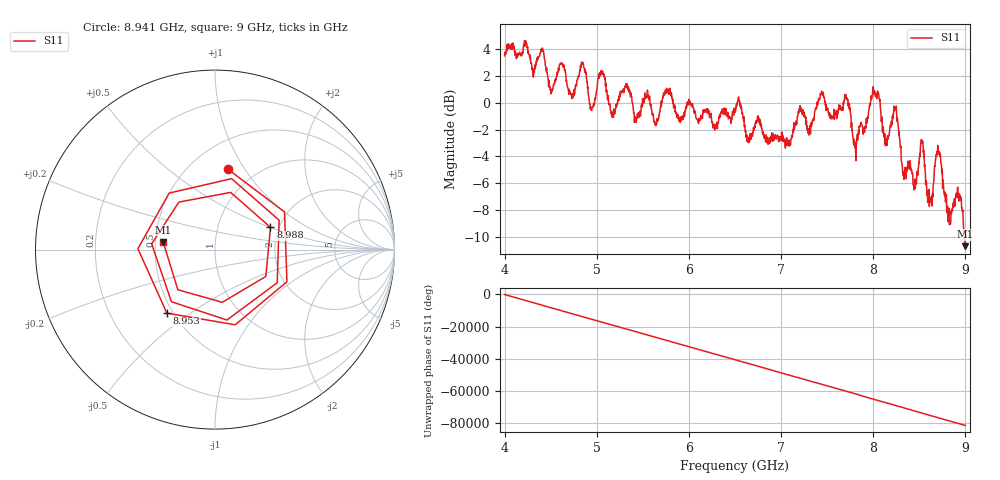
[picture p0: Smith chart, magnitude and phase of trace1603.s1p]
! Created with skrf 1.8.0 (http://scikit-rf.org).
# Hz S RI R 50.0
!freq ReS11 ImS11
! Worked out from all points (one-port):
!   1601 points, 4 GHz to 9 GHz, reference 50 ohm
!   lowest |S11| = -10.7 dB at 9 GHz (marker M1), VSWR 1.82, Z = 27.5 + j2.6 ohm
!   |S11| at or under -10 dB: 8.99148 GHz to end of sweep
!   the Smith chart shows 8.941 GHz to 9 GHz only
!   S11 on the Smith chart (normalised r, x): 8.941 GHz: 0.75, +0.84; 8.953 GHz: 0.46, -0.41; 8.988 GHz: 1.80, +0.50; 9 GHz: 0.55, +0.05
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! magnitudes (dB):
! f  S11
! 4 GHz  3.5
! 4.406 GHz  3.8
! 4.509 GHz  1.0
! 4.625 GHz  2.9
! 4.734 GHz  0.3
! 4.856 GHz  2.8
! 4.947 GHz  -0.4
! 5.044 GHz  2.4
! 5.172 GHz  -0.8
! 5.25 GHz  0.6
! 5.875 GHz  -1.1
! 6.5 GHz  -0.6
! 7.125 GHz  -2.3
! 7.444 GHz  0.9
! 7.75 GHz  -0.4
! 7.809 GHz  -3.7
! 8.038 GHz  0.3
! 8.138 GHz  -3.0
! 8.244 GHz  -0.4
! 8.375 GHz  -4.5
! 8.528 GHz  -3.0
! 8.616 GHz  -7.2
! 8.706 GHz  -3.8
! 8.822 GHz  -7.9
! 8.941 GHz  -6.9
! 8.953 GHz  -7.0
! 8.988 GHz  -9.5
! 9 GHz  -10.7
